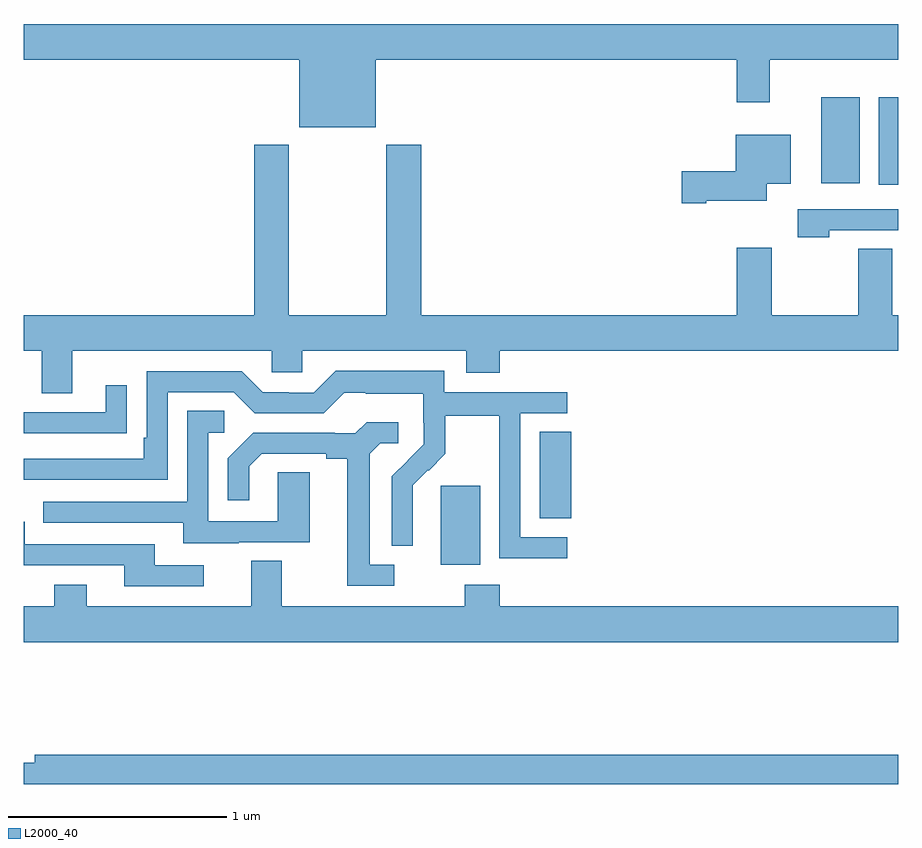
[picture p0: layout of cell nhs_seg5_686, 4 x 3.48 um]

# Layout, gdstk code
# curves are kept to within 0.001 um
import gdstk
lib = gdstk.Library(unit=1e-6, precision=1e-09)
def R(c, l, rs):  # rectangles x0, y0, x1, y1
    for r in rs: c.add(gdstk.rectangle(r[:2], r[2:], *l))
def P(c, l, *ps):  # polygons
    for p in ps: c.add(gdstk.Polygon(p, *l))
L2000_40 = (2000, 40)

nhs_seg5_686 = lib.new_cell('nhs_seg5_686')
R(nhs_seg5_686, L2000_40, [(156.908,835.802,157.087,836.163), (157.361,836.014,157.505,836.411), (158.912,837.54,159,837.94), (158.648,837.548,158.824,837.94)])
P(nhs_seg5_686, L2000_40, [(156.61,838.112),(158.261,838.112),(158.261,837.918),(158.413,837.918),(158.413,838.112),(159,838.112),(159,838.276),(155,838.276),(155,838.112),(156.26,838.112),(156.26,837.803),(156.61,837.803)],
  [(158.122,837.467),(158.398,837.467),(158.398,837.545),(158.509,837.545),(158.509,837.769),(158.258,837.769),(158.258,837.602),(158.01,837.602),(158.01,837.455),(158.122,837.455)],
  [(156.818,837.724),(156.658,837.724),(156.658,836.944),(156.213,836.944),(156.213,837.724),(156.053,837.724),(156.053,836.944),(155,836.944),(155,836.78),(155.081,836.78),(155.081,836.586),(155.221,836.586),(155.221,836.78),(156.135,836.78),(156.135,836.682),(156.273,836.682),(156.273,836.78),(157.025,836.78),(157.025,836.681),(157.178,836.681),(157.178,836.78),(159,836.78),(159,836.944),(158.972,836.944),(158.972,837.248),(158.818,837.248),(158.818,836.944),(158.421,836.944),(158.421,837.253),(158.261,837.253),(158.261,836.944),(156.818,836.944)],
  [(158.685,837.333),(159,837.333),(159,837.429),(158.541,837.429),(158.541,837.301),(158.685,837.301)],
  [(157.486,835.929),(157.272,835.929),(157.272,836.496),(157.486,836.496),(157.486,836.592),(156.924,836.592),(156.924,836.689),(156.427,836.689),(156.327,836.589),(156.212,836.589),(156.212,836.592),(156.093,836.592),(155.997,836.688),(155.562,836.688),(155.562,836.383),(155.549,836.383),(155.549,836.286),(155,836.286),(155,836.19),(155.658,836.19),(155.658,836.592),(155.961,836.592),(156.057,836.496),(156.372,836.496),(156.465,836.589),(156.565,836.589),(156.565,836.585),(156.828,836.585),(156.828,836.451),(156.83,836.451),(156.83,836.354),(156.684,836.206),(156.684,835.888),(156.78,835.888),(156.779,836.165),(156.849,836.235),(156.852,836.232),(156.929,836.309),(156.929,836.484),(157.174,836.484),(157.174,836.26),(157.176,836.26),(157.176,835.831),(157.486,835.831)],
  [(155.369,836.404),(155.471,836.404),(155.471,836.623),(155.375,836.623),(155.375,836.499),(155,836.499),(155,836.403),(155.369,836.403)],
  [(155.983,835.905),(156.307,835.905),(156.307,836.225),(156.162,836.225),(156.162,836.001),(155.844,836.001),(155.844,836.406),(155.917,836.406),(155.917,836.507),(155.748,836.507),(155.748,836.091),(155.089,836.091),(155.089,835.995),(155.729,835.995),(155.729,835.901),(155.983,835.901)],
  [(156.694,835.803),(156.583,835.803),(156.583,836.311),(156.63,836.358),(156.712,836.358),(156.712,836.455),(156.568,836.455),(156.516,836.403),(156.422,836.403),(156.422,836.406),(156.05,836.406),(155.934,836.29),(155.934,836.097),(156.031,836.097),(156.031,836.253),(156.088,836.31),(156.383,836.31),(156.383,836.288),(156.479,836.288),(156.479,835.707),(156.694,835.707)],
  [(155.824,835.8),(155.599,835.8),(155.599,835.896),(155.004,835.896),(155.004,835.999),(155,835.999),(155,835.8),(155.459,835.8),(155.459,835.704),(155.824,835.704)],
  [(159,835.612),(157.178,835.612),(157.178,835.711),(157.018,835.711),(157.018,835.612),(156.181,835.612),(156.181,835.82),(156.041,835.82),(156.041,835.612),(155.287,835.612),(155.287,835.711),(155.14,835.711),(155.14,835.612),(155,835.612),(155,835.448),(159,835.448)],
  [(159,834.932),(155.051,834.932),(155.051,834.896),(155,834.896),(155,834.799),(159,834.799)])

lib.write_gds('nhs_seg5_686.gds')
